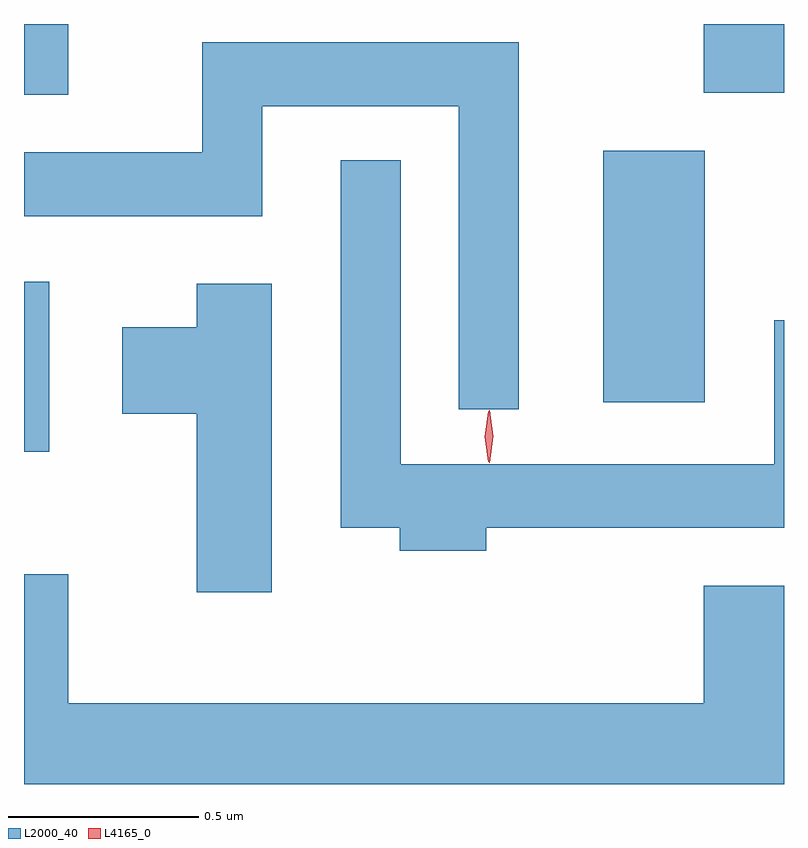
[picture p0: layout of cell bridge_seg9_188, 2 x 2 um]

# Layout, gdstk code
import gdstk
lib = gdstk.Library(unit=1e-6, precision=1e-09)
def R(c, l, rs):  # rectangles x0, y0, x1, y1
    for r in rs: c.add(gdstk.rectangle(r[:2], r[2:], *l))
def P(c, l, *ps):  # polygons
    for p in ps: c.add(gdstk.Polygon(p, *l))
L2000_40 = (2000, 40)
L4165_0 = (4165, 0)

bridge_seg9_188 = lib.new_cell('bridge_seg9_188')
R(bridge_seg9_188, L2000_40, [(1410.682,2072.666,1410.749,2073.114), (1412.206,2072.796,1412.474,2073.459), (1410.682,2073.606,1410.799,2073.792), (1412.471,2073.611,1412.682,2073.792)])
P(bridge_seg9_188, L2000_40, [(1411.984,2073.744),(1411.151,2073.744),(1411.151,2073.454),(1410.682,2073.454),(1410.682,2073.286),(1411.309,2073.286),(1411.309,2073.576),(1411.826,2073.576),(1411.826,2072.778),(1411.984,2072.778)],
  [(1411.899,2072.466),(1412.682,2072.466),(1412.682,2073.012),(1412.656,2073.012),(1412.656,2072.634),(1411.674,2072.634),(1411.674,2073.433),(1411.516,2073.433),(1411.516,2072.466),(1411.671,2072.466),(1411.671,2072.406),(1411.899,2072.406)],
  [(1411.334,2073.109),(1411.136,2073.109),(1411.136,2072.994),(1410.941,2072.994),(1410.941,2072.766),(1411.136,2072.766),(1411.136,2072.296),(1411.334,2072.296)],
  [(1412.682,2072.314),(1412.471,2072.314),(1412.471,2072.004),(1410.799,2072.004),(1410.799,2072.344),(1410.682,2072.344),(1410.682,2071.792),(1412.682,2071.792)])
P(bridge_seg9_188, L4165_0, [(1411.906,2072.637),(1411.897,2072.707),(1411.906,2072.776),(1411.907,2072.776),(1411.907,2072.776),(1411.917,2072.707),(1411.907,2072.637),(1411.907,2072.637)],
  [(1411.904,2072.64),(1411.895,2072.706),(1411.904,2072.772),(1411.905,2072.773),(1411.905,2072.772),(1411.915,2072.706),(1411.905,2072.64),(1411.905,2072.64)])

lib.write_gds('bridge_seg9_188.gds')
